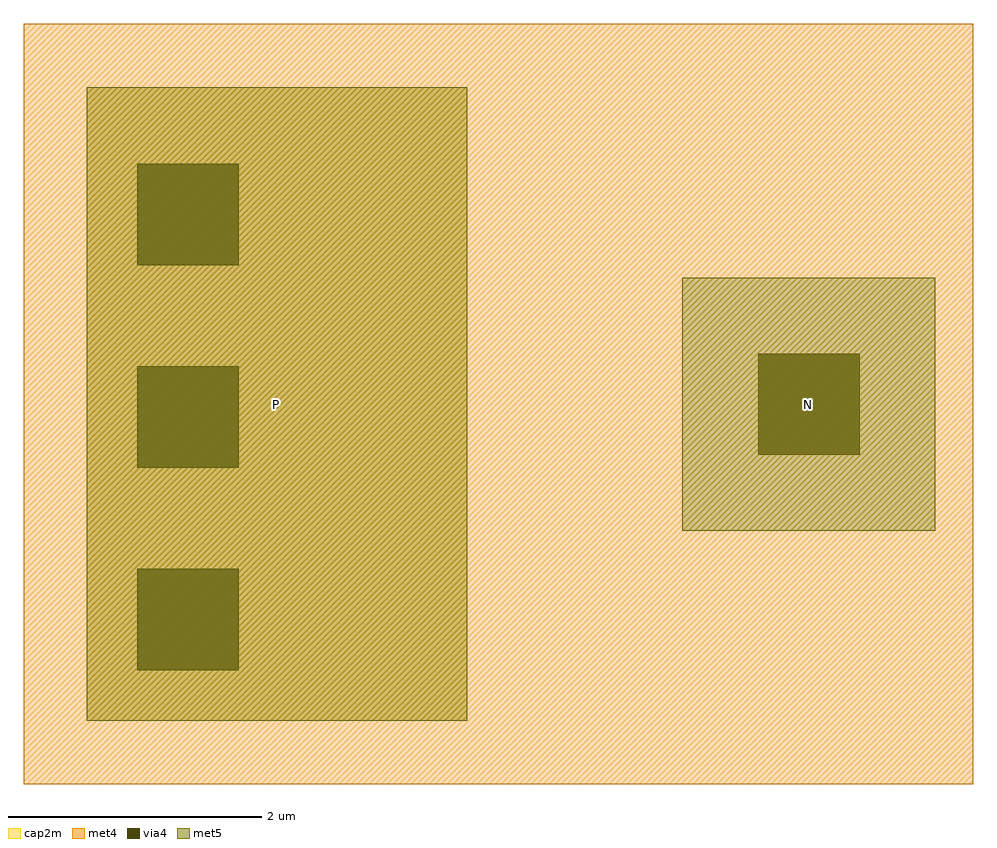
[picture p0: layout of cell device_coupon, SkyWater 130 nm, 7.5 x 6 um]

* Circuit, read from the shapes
.subckt device_coupon N P
XC1 P N sky130_fd_pr__cap_mim_m3_2 w=3.005 l=5.005
.ends

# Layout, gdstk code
import gdstk
lib = gdstk.Library(unit=1e-6, precision=1e-09)
def R(c, l, rs):  # rectangles x0, y0, x1, y1
    for r in rs: c.add(gdstk.rectangle(r[:2], r[2:], *l))
def A(c, l, x, y, w, h, nx, ny, dx, dy):  # array of equal rectangles
    R(c, l, [(x+i*dx, y+j*dy, x+i*dx+w, y+j*dy+h) for i in range(nx) for j in range(ny)])
met4 = (71, 20)
via4 = (71, 44)
met5 = (72, 20)
cap2m = (97, 44)

device_coupon = lib.new_cell('device_coupon')
R(device_coupon, met4, [(-0.5,-0.5,7.005,5.505)])
A(device_coupon, via4, 0.4, 0.4, 0.8, 0.8, 1, 3, 0, 1.6)
R(device_coupon, via4, [(5.305,2.1,6.105,2.9)])
R(device_coupon, met5, [(0,0,3.005,5.005), (4.705,1.5,6.705,3.5)])
R(device_coupon, cap2m, [(0,0,3.005,5.005)])
device_coupon.add(gdstk.Label('N', (5.705,2.5), layer=72, texttype=5))
device_coupon.add(gdstk.Label('P', (1.5,2.5), layer=72, texttype=5))

lib.write_gds('device_coupon.gds')
